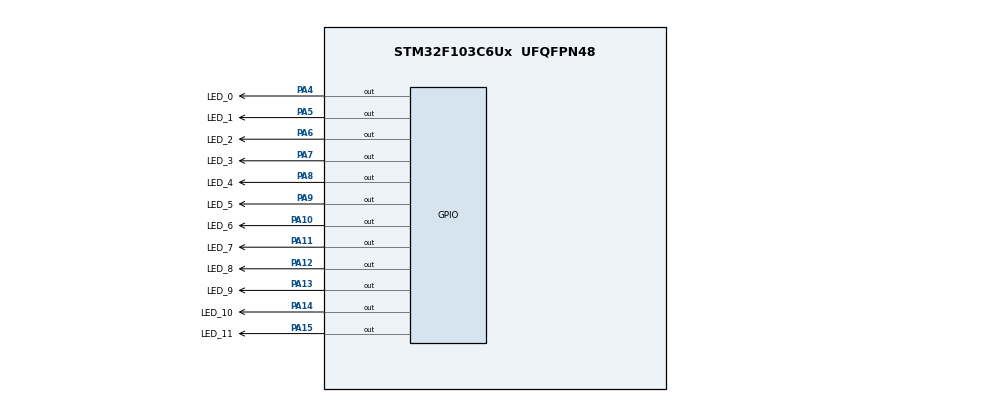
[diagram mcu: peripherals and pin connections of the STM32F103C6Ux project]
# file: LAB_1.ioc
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Mcu.Family=STM32F1
Mcu.Name=STM32F103C6Ux
Mcu.Package=UFQFPN48
NVIC.PriorityGroup=NVIC_PRIORITYGROUP_4
PA10.GPIO_Label=LED_6
PA10.Signal=GPIO_Output
PA11.GPIO_Label=LED_7
PA11.Signal=GPIO_Output
PA12.GPIO_Label=LED_8
PA12.Signal=GPIO_Output
PA13.GPIO_Label=LED_9
PA13.Signal=GPIO_Output
PA14.GPIO_Label=LED_10
PA14.Signal=GPIO_Output
PA15.GPIO_Label=LED_11
PA15.Signal=GPIO_Output
PA4.GPIO_Label=LED_0
PA4.Signal=GPIO_Output
PA5.GPIO_Label=LED_1
PA5.Signal=GPIO_Output
PA6.GPIO_Label=LED_2
PA6.Signal=GPIO_Output
PA7.GPIO_Label=LED_3
PA7.Signal=GPIO_Output
PA8.GPIO_Label=LED_4
PA8.Signal=GPIO_Output
PA9.GPIO_Label=LED_5
PA9.Signal=GPIO_Output
ProjectManager.HeapSize=0x200
ProjectManager.StackSize=0x400
ProjectManager.TargetToolchain=STM32CubeIDE
RCC.APB1Freq_Value=8000000
RCC.APB2Freq_Value=8000000
VP_SYS_VS_ND.Mode=No_Debug
board=custom

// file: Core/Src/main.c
/* USER CODE BEGIN Header */
/**
  ******************************************************************************
  * @file           : main.c
  * @brief          : Main program body
  ******************************************************************************
  * @attention
  *
  * Copyright (c) 2024 STMicroelectronics.
  * All rights reserved.
  *
  * This software is licensed under terms that can be found in the LICENSE file
  * in the root directory of this software component.
  * If no LICENSE file comes with this software, it is provided AS-IS.
  *
  ******************************************************************************
  */
/* USER CODE END Header */
#include "main.h"

/* USER CODE BEGIN Includes */

#include "Ex6_to_10.h"
/* USER CODE END Includes */

void SystemClock_Config(void);
static void MX_GPIO_Init(void);

int main(void)
{

  /* MCU Configuration--------------------------------------------------------*/

  /* Reset of all peripherals, Initializes the Flash interface and the Systick. */
  HAL_Init();

  /* Configure the system clock */
  SystemClock_Config();

  /* Initialize all configured peripherals */
  MX_GPIO_Init();
  /* USER CODE BEGIN 2 */
  int hour = 3, minute = 59, second = 50;
  /* USER CODE END 2 */

  /* Infinite loop */
  /* USER CODE BEGIN WHILE */
   while (1)
  {
	   if (second >= 60) {
		   minute++;
		   second = 0;
	   }
	   if (minute >= 60) {
		   hour++;
		   minute = 0;
	   }
	   if (hour >= 12) hour = 0;
	   setNumberOnClock(hour);
	   setNumberOnClock(minute/5);
	   setNumberOnClock(second/5);
	   second++;
	   HAL_Delay(500);
	   clearAllClock();
    /* USER CODE END WHILE */

  }
}

void SystemClock_Config(void)
{
  RCC_OscInitTypeDef RCC_OscInitStruct = {0};
  RCC_ClkInitTypeDef RCC_ClkInitStruct = {0};

  /** Initializes the RCC Oscillators according to the specified parameters
  * in the RCC_OscInitTypeDef structure.
  */
  RCC_OscInitStruct.OscillatorType = RCC_OSCILLATORTYPE_HSI;
  RCC_OscInitStruct.HSIState = RCC_HSI_ON;
  RCC_OscInitStruct.HSICalibrationValue = RCC_HSICALIBRATION_DEFAULT;
  RCC_OscInitStruct.PLL.PLLState = RCC_PLL_NONE;
  if (HAL_RCC_OscConfig(&RCC_OscInitStruct) != HAL_OK)
  {
    Error_Handler();
  }

  /** Initializes the CPU, AHB and APB buses clocks
  */
  RCC_ClkInitStruct.ClockType = RCC_CLOCKTYPE_HCLK|RCC_CLOCKTYPE_SYSCLK
                              |RCC_CLOCKTYPE_PCLK1|RCC_CLOCKTYPE_PCLK2;
  RCC_ClkInitStruct.SYSCLKSource = RCC_SYSCLKSOURCE_HSI;
  RCC_ClkInitStruct.AHBCLKDivider = RCC_SYSCLK_DIV1;
  RCC_ClkInitStruct.APB1CLKDivider = RCC_HCLK_DIV1;
  RCC_ClkInitStruct.APB2CLKDivider = RCC_HCLK_DIV1;

  if (HAL_RCC_ClockConfig(&RCC_ClkInitStruct, FLASH_LATENCY_0) != HAL_OK)
  {
    Error_Handler();
  }
}

static void MX_GPIO_Init(void)
{
  GPIO_InitTypeDef GPIO_InitStruct = {0};

  /* GPIO Ports Clock Enable */
  __HAL_RCC_GPIOA_CLK_ENABLE();

  /*Configure GPIO pin Output Level */
  HAL_GPIO_WritePin(GPIOA, LED_0_Pin|LED_1_Pin|LED_2_Pin|LED_3_Pin
                          |LED_4_Pin|LED_5_Pin|LED_6_Pin|LED_7_Pin
                          |LED_8_Pin|LED_9_Pin|LED_10_Pin|LED_11_Pin, GPIO_PIN_RESET);

  /*Configure GPIO pins : LED_0_Pin LED_1_Pin LED_2_Pin LED_3_Pin
                           LED_4_Pin LED_5_Pin LED_6_Pin LED_7_Pin
                           LED_8_Pin LED_9_Pin LED_10_Pin LED_11_Pin */
  GPIO_InitStruct.Pin = LED_0_Pin|LED_1_Pin|LED_2_Pin|LED_3_Pin
                          |LED_4_Pin|LED_5_Pin|LED_6_Pin|LED_7_Pin
                          |LED_8_Pin|LED_9_Pin|LED_10_Pin|LED_11_Pin;
  GPIO_InitStruct.Mode = GPIO_MODE_OUTPUT_PP;
  GPIO_InitStruct.Pull = GPIO_NOPULL;
  GPIO_InitStruct.Speed = GPIO_SPEED_FREQ_LOW;
  HAL_GPIO_Init(GPIOA, &GPIO_InitStruct);

}

void Error_Handler(void)
{
  __disable_irq();
  while (1)
  {
  }
}
